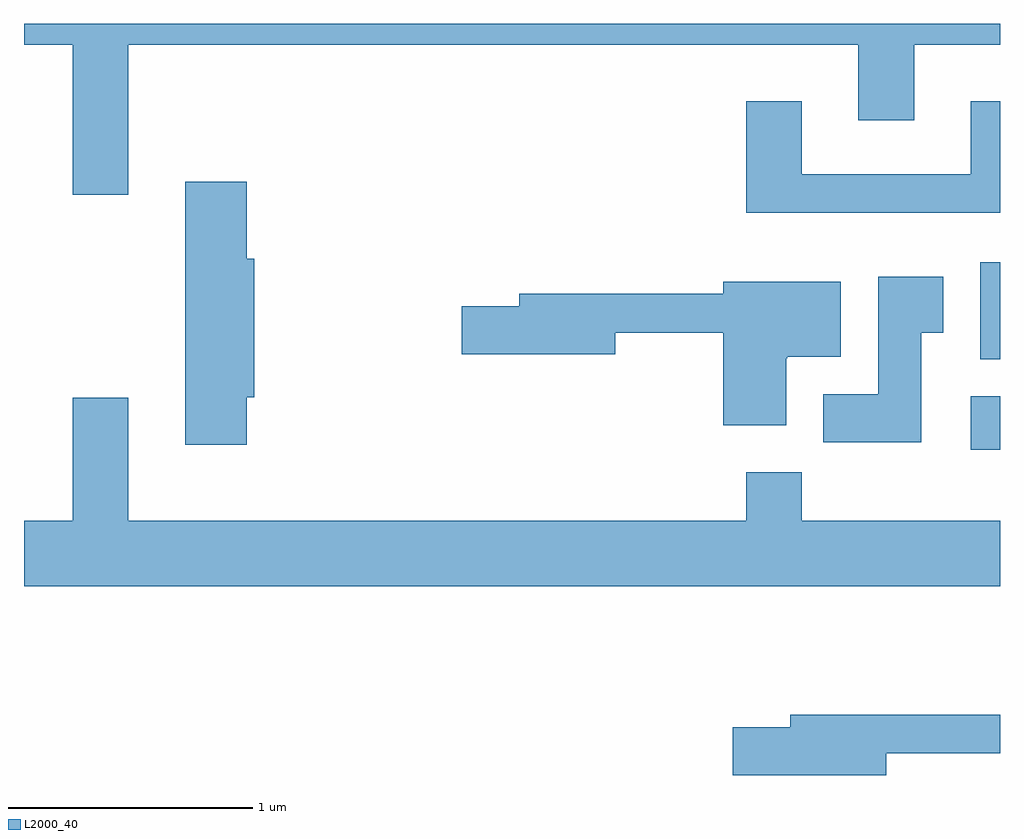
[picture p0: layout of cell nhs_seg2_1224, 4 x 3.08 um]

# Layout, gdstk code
import gdstk
lib = gdstk.Library(unit=1e-6, precision=1e-09)
def R(c, l, rs):  # rectangles x0, y0, x1, y1
    for r in rs: c.add(gdstk.rectangle(r[:2], r[2:], *l))
def P(c, l, *ps):  # polygons
    for p in ps: c.add(gdstk.Polygon(p, *l))
L2000_40 = (2000, 40)

nhs_seg2_1224 = lib.new_cell('nhs_seg2_1224')
R(nhs_seg2_1224, L2000_40, [(225.491,980.056,225.611,980.274), (225.531,980.426,225.611,980.824)])
P(nhs_seg2_1224, L2000_40, [(222.039,981.716),(225.031,981.716),(225.031,981.406),(225.259,981.406),(225.259,981.716),(225.611,981.716),(225.611,981.802),(221.611,981.802),(221.611,981.716),(221.811,981.716),(221.811,981.101),(222.039,981.101)],
  [(225.611,981.484),(225.491,981.484),(225.491,981.184),(224.799,981.184),(224.799,981.484),(224.571,981.484),(224.571,981.026),(225.611,981.026)],
  [(222.524,980.271),(222.554,980.271),(222.554,980.839),(222.524,980.839),(222.524,981.154),(222.271,981.154),(222.271,980.076),(222.524,980.076)],
  [(225.289,980.536),(225.379,980.536),(225.379,980.764),(225.111,980.764),(225.111,980.284),(224.886,980.284),(224.886,980.086),(225.289,980.086)],
  [(224.734,980.43),(224.74,980.43),(224.74,980.436),(224.959,980.436),(224.959,980.744),(224.476,980.744),(224.476,980.694),(223.641,980.694),(223.641,980.644),(223.406,980.644),(223.406,980.446),(224.034,980.446),(224.034,980.536),(224.476,980.536),(224.476,980.156),(224.734,980.156)],
  [(225.611,979.764),(224.799,979.764),(224.799,979.964),(224.571,979.964),(224.571,979.764),(222.039,979.764),(222.039,980.269),(221.811,980.269),(221.811,979.764),(221.611,979.764),(221.611,979.496),(225.611,979.496)],
  [(225.144,978.811),(225.611,978.811),(225.611,978.969),(224.751,978.969),(224.751,978.919),(224.516,978.919),(224.516,978.721),(225.144,978.721)])

lib.write_gds('nhs_seg2_1224.gds')
